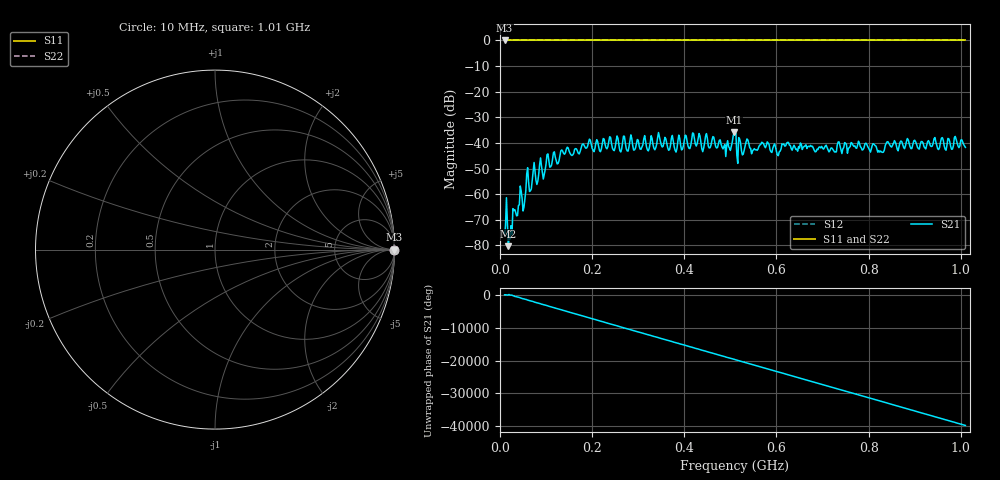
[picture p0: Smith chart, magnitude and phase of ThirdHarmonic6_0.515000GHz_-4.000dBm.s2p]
! 8/15/2025 3:45:12 PM
! C:\ANRITSUVNA\TEMP\TEMP.S2P
! CHANNEL.1
! TR.MEASUREMENT
! RAW.DATA
! RF.CORRECTION.OFF
! AVERAGING.OFF
! IF.BANDWIDTH: 5KHZ
! SWEEPTYPE:  FREQ.SWEEP(Linear)
! Reference Plane Port Info
! PORT:  PORT1  PORT2
! DISTANCE:  0  m  0  m
! TIME:  0  s  0  s
! PHASE.OFFSET:  0  deg.  0  deg.
! LOSS:  0  dB  0  dB
! REF.LOSS:  0  dB  0  dB
! REF.FREQ:  0  Hz  0  Hz
! Power Info
! POWER:  -20  dBm  -20  dBm
! EFF.POWER:  -20  dBm  -20  dBm
! SOURCE.ATTEN:  0  dB  0  dB
! TEST.ATTEN:  0  dB  0  dB
# GHZ S RI R 50.0
! FREQ.GHZ  S11RE  S11IM  S21RE  S21IM  S12RE  S12IM  S22RE  S22IM
!; PortSelection: Port_12
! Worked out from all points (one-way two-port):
!   501 points, 10 MHz to 1.01 GHz, reference 50 ohm
!   highest |S21| = -35.73 dB at 508 MHz (marker M1); lowest = -80.3 dB at 18 MHz (marker M2)
!   lowest |S11| = 0.0 dB at 10 MHz (marker M3)
!   |S11| at or under -10 dB: nowhere
!   |S22| runs from 0.0 to 0.0 dB; largest |S21 - S12| = 1
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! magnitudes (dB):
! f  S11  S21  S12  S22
! 10 MHz  0.0  -76.3  0.0  0.0
! 18 MHz  0.0  -80.3  0.0  0.0
! 22 MHz  0.0  -77.5  0.0  0.0
! 32 MHz  0.0  -66.0  0.0  0.0
! 44 MHz  0.0  -56.8  0.0  0.0
! 52 MHz  0.0  -65.1  0.0  0.0
! 58 MHz  0.0  -52.1  0.0  0.0
! 66 MHz  0.0  -58.6  0.0  0.0
! 74 MHz  0.0  -47.6  0.0  0.0
! 178 MHz  0.0  -40.8  0.0  0.0
! 322 MHz  0.0  -43.1  0.0  0.0
! 344 MHz  0.0  -35.9  0.0  0.0
! 486 MHz  0.0  -41.3  0.0  0.0
! 508 MHz  0.0  -35.7  0.0  0.0
! 510 MHz  0.0  -35.9  0.0  0.0
! 528 MHz  0.0  -44.3  0.0  0.0
! 536 MHz  0.0  -38.4  0.0  0.0
! 604 MHz  0.0  -45.0  0.0  0.0
! 678 MHz  0.0  -41.3  0.0  0.0
! 828 MHz  0.0  -43.5  0.0  0.0
! 844 MHz  0.0  -40.2  0.0  0.0
! 1.01 GHz  0.0  -41.7  0.0  0.0
